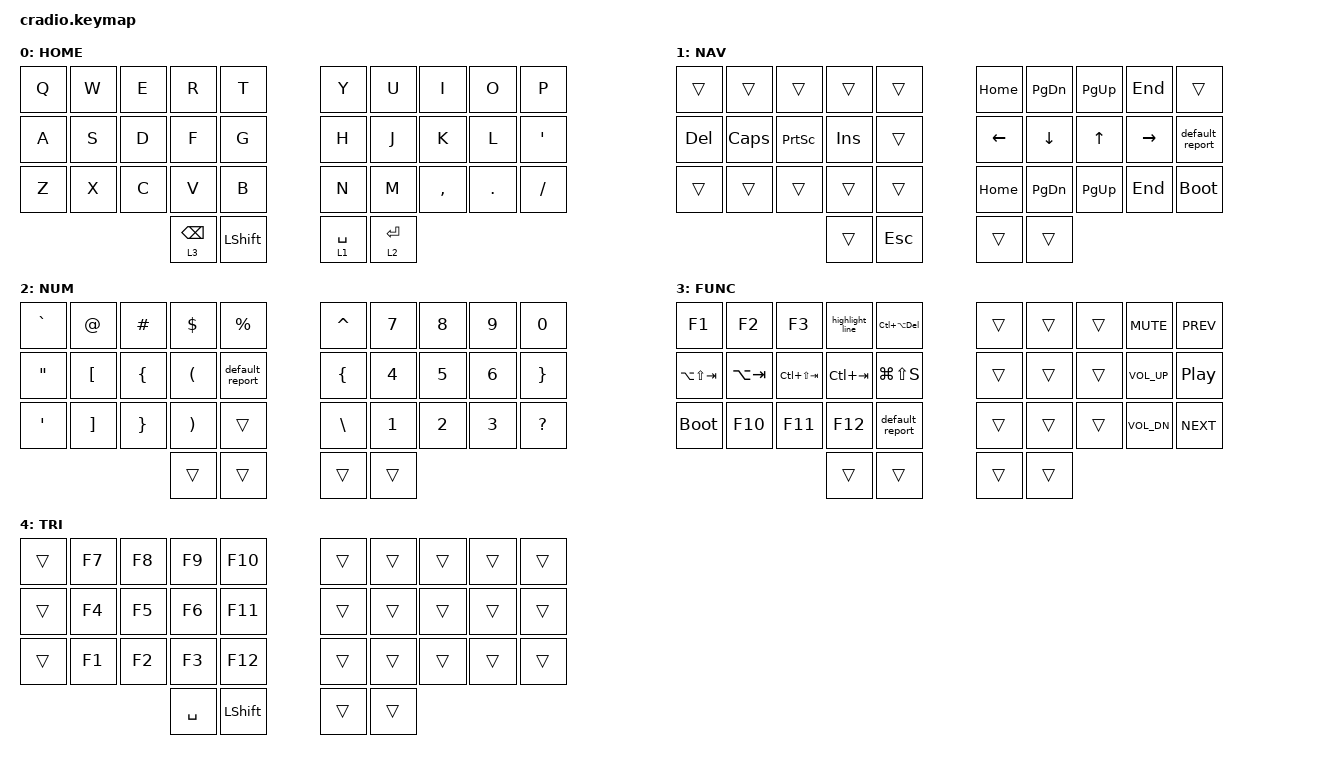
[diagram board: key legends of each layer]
// Copyright (c) 2022 The ZMK Contributors
// SPDX-License-Identifier: MIT

#define ZMK_POINTING_DEFAULT_MOVE_VAL 2500  // 600
#define ZMK_POINTING_DEFAULT_SCRL_VAL 20    // 10

#include <behaviors.dtsi>
#include <dt-bindings/zmk/keys.h>

#define MAC 0
#define WIN 1
#define RIG 2
#define LEF 3
#define TRI 4
#define MOUSE 5

// https://zmk.dev/docs/development/hardware-integration/soft-off-setup?advanced-methods=wakeup&kscan-type=dkscan

/ {
    keys {
        compatible = "gpio-keys";

        soft_off_gpio_key: soft_off_gpio_key { gpios = <&gpio1 6 (GPIO_ACTIVE_LOW | GPIO_PULL_UP)>; };
    };

    wakeup_scan: wakeup_scan {
        compatible = "zmk,kscan-gpio-direct";
        input-keys = <&soft_off_gpio_key>;
        wakeup-source;
    };

    side_band_behavior_triggers: side_band_behavior_triggers {
        compatible = "zmk,kscan-sideband-behaviors";
        kscan = <&wakeup_scan>;
        auto-enable;
        wakeup-source;
    };

    soft_off_wakers {
        compatible = "zmk,soft-off-wakeup-sources";
        wakeup-sources = <&wakeup_scan>;
    };
};

/ {
    chosen { zmk,charmap = &charmap_us; };

    behaviors {
        ht: hold_tap {
            label = "hold_tap";
            compatible = "zmk,behavior-hold-tap";
            #binding-cells = <2>;
            flavor = "balanced";
            tapping-term-ms = <200>;
            quick-tap-ms = <150>;
            global-quick-tap;
            bindings = <&kp>, <&kp>;
        };

        mmv {
            acceleration-exponent = <1>;      // 1
            time-to-max-speed-ms = <300>;    // 40
            delay-ms = <0>;                   // 0
        };

        msc {
            acceleration-exponent = <0>;      // 0
            time-to-max-speed-ms = <40>;      // 500
            delay-ms = <0>;                   // 10
        };
    };

    conditional_layers {
        compatible = "zmk,conditional-layers";

        tri_layer {
            if-layers = <2 3>;
            then-layer = <4>;
        };
    };

    combos {
        compatible = "zmk,combos";

        esc {
            bindings = <&kp ESC>;
            key-positions = <0 1>;
            require-prior-idle-ms = <75>;
        };

        del {
            bindings = <&kp DEL>;
            key-positions = <8 9>;
            require-prior-idle-ms = <75>;
        };

        lctrl {
            bindings = <&sk LCTRL>;
            key-positions = <11 12>;
            require-prior-idle-ms = <75>;
        };

        lalt {
            bindings = <&sk LALT>;
            key-positions = <20 21>;
            require-prior-idle-ms = <75>;
        };

        lctrlalt {
            bindings = <&sk LA(LCTRL)>;
            key-positions = <1 2 3>;
            require-prior-idle-ms = <75>;
        };

        lgui {
            bindings = <&sk LGUI>;
            key-positions = <22 23>;
            require-prior-idle-ms = <75>;
        };

        grave {
            bindings = <&kp GRAVE>;
            key-positions = <29 28>;
            require-prior-idle-ms = <75>;
        };

        semicolon {
            bindings = <&kp SEMICOLON>;
            key-positions = <19 18>;
            require-prior-idle-ms = <75>;
        };

        tab {
            bindings = <&kp TAB>;
            key-positions = <11 12 13>;
        };
    };

    macros {
        highlight_line: highlight_line {
            compatible = "zmk,behavior-macro";
            #binding-cells = <0>;
            bindings = <&kp HOME &kp LS(END)>;
            label = "HIGHLIGHT_LINE";
        };
    };

    keymap {
        compatible = "zmk,keymap";

        home_layer {
            display-name = "HOME";
            bindings = <
&kp Q  &kp W  &kp E  &kp R            &kp T         &kp Y        &kp U        &kp I      &kp O    &kp P
&kp A  &kp S  &kp D  &kp F            &kp G         &kp H        &kp J        &kp K      &kp L    &kp APOS
&kp Z  &kp X  &kp C  &kp V            &kp B         &kp N        &kp M        &kp COMMA  &kp DOT  &kp SLASH
                     &lt 3 BACKSPACE  &kp LSHIFT    &lt 1 SPACE  &lt 2 ENTER
            >;
        };

        nav_layer {
            display-name = "NAV";
            bindings = <
&trans   &trans    &trans     &trans   &trans     &kp HOME  &kp PAGE_DOWN  &kp PAGE_UP  &kp END    &trans
&kp DEL  &kp CAPS  &kp PSCRN  &kp INS  &trans     &kp LEFT  &kp DOWN       &kp UP       &kp RIGHT  &default_report
&trans   &trans    &trans     &trans   &trans     &kp HOME  &kp PG_DN      &kp PG_UP    &kp END    &bootloader
                              &trans   &kp ESC    &trans    &trans
            >;
        };

        num_layer {
            display-name = "NUM";
            bindings = <
&kp GRAVE  &kp AT    &kp HASH  &kp DLLR  &kp PRCNT          &kp CARET       &kp N7        &kp N8        &kp N9        &kp N0
&kp DQT    &kp LBKT  &kp LBRC  &kp LPAR  &default_report    &kp LEFT_BRACE  &kp NUMBER_4  &kp N5        &kp NUMBER_6  &kp RIGHT_BRACE
&kp SQT    &kp RBKT  &kp RBRC  &kp RPAR  &trans             &kp BSLH        &kp NUMBER_1  &kp NUMBER_2  &kp NUMBER_3  &kp QMARK
                               &trans    &trans             &trans          &trans
            >;
        };

        func_layer {
            display-name = "FUNC";
            bindings = <
&kp F1           &kp F2       &kp F3           &highlight_line  &kp LC(LA(DEL))    &trans  &trans  &trans  &kp C_MUTE    &kp C_PREV
&kp LA(LS(TAB))  &kp LA(TAB)  &kp LC(LS(TAB))  &kp LC(TAB)      &kp LG(LS(S))      &trans  &trans  &trans  &kp C_VOL_UP  &kp C_PP
&bootloader      &kp F10      &kp F11          &kp F12          &default_report    &trans  &trans  &trans  &kp C_VOL_DN  &kp C_NEXT
                                               &trans           &trans             &trans  &trans
            >;
        };

        tri_layer {
            display-name = "TRI";
            bindings = <
&trans  &kp F7  &kp F8  &kp F9     &kp F10       &trans  &trans  &trans  &trans  &trans
&trans  &kp F4  &kp F5  &kp F6     &kp F11       &trans  &trans  &trans  &trans  &trans
&trans  &kp F1  &kp F2  &kp F3     &kp F12       &trans  &trans  &trans  &trans  &trans
                        &kp SPACE  &kp LSHIFT    &trans  &trans
            >;
        };
    };
};
